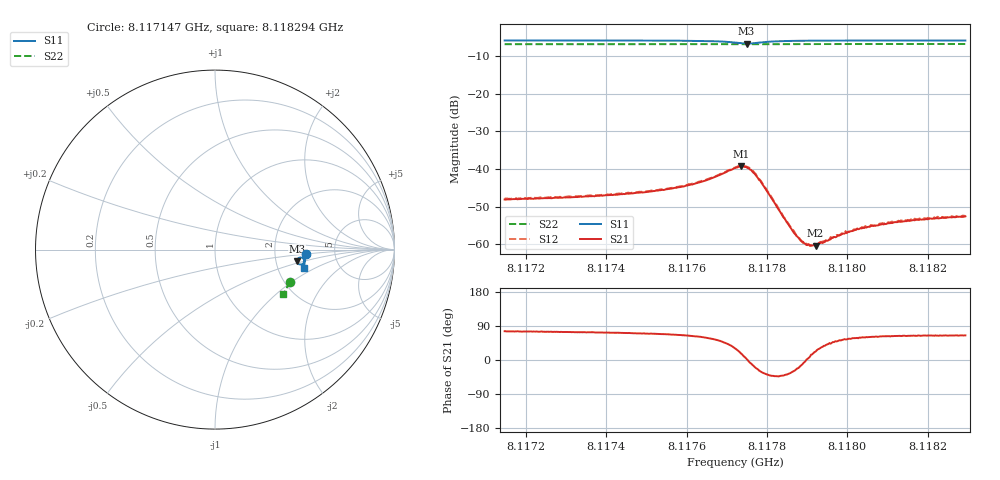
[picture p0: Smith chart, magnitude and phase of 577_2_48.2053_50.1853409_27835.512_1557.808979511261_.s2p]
#  HZ  S  RI  R  50.00
! Rohde & Schwarz Vector Network Analyzer
! Rohde-Schwarz,ZNB20-2Port,1311601062101988,3.16
! Created: UTC 3/20/2024, 12:01:56 PM
! freq[Hz]  re:S11  im:S11  re:S21  im:S21  re:S12  im:S12  re:S22  im:S22
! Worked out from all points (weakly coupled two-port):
!   401 points, 8.117147 GHz to 8.118294 GHz, reference 50 ohm
!   highest |S21| = -39.33 dB at 8.117735 GHz (marker M1); lowest = -60.3 dB at 8.117921 GHz (marker M2)
!   lowest |S11| = -6.7 dB at 8.117749 GHz (marker M3), VSWR 2.71, Z = 132 - j21 ohm
!   |S11| at or under -10 dB: nowhere
!   |S22| runs from -6.9 to -6.8 dB; largest |S21 - S12| = 0.00039
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8.1171471e9  0.506 -0.0265  0.000956 0.00382  0.00104 0.0039  0.4153 -0.1782
8.1173392e9  0.5044 -0.0424  0.00124 0.00409  0.00123 0.00419  0.4102 -0.1908
8.1174281e9  0.5032 -0.0503  0.00141 0.00433  0.00148 0.00445  0.4077 -0.1964
8.1175313e9  0.5008 -0.0605  0.00189 0.00486  0.00197 0.00492  0.4047 -0.2031
8.117583e9  0.4989 -0.0666  0.00234 0.00525  0.00241 0.00537  0.4031 -0.2064
8.1176317e9  0.4949 -0.0734  0.00319 0.00584  0.00329 0.00597  0.4015 -0.2097
8.1176718e9  0.4884 -0.0798  0.00465 0.00636  0.00478 0.00644  0.4 -0.2123
8.1177206e9  0.4679 -0.0814  0.00889 0.00522  0.00898 0.00532  0.3978 -0.2151
8.1177349e9  0.4599 -0.0746  0.0103 0.0033  0.0103 0.00337  0.3971 -0.2154
8.1177492e9  0.4565 -0.0628  0.0106 0.000536  0.0107 0.000541  0.3965 -0.2158
8.1177664e9  0.4629 -0.0492  0.0086 -0.00238  0.00892 -0.00253  0.3965 -0.2163
8.1177837e9  0.4742 -0.044  0.00605 -0.00348  0.00613 -0.00356  0.3965 -0.2172
8.1178697e9  0.4972 -0.0598  0.00122 -0.000641  0.00127 -0.000657  0.3947 -0.2234
8.1178897e9  0.4982 -0.0632  0.00107 -0.000176  0.00104 -0.000154  0.3942 -0.2246
8.1179012e9  0.4987 -0.0651  0.000977 5.39e-05  0.000994 4.39e-05  0.3937 -0.2254
8.1179127e9  0.4988 -0.0668  0.000931 0.000247  0.00097 0.00025  0.3935 -0.2262
8.1179213e9  0.4991 -0.0679  0.000888 0.000366  0.000927 0.000368  0.393 -0.2267
8.1179901e9  0.499 -0.0762  0.000825 0.00112  0.000834 0.00113  0.3909 -0.231
8.1180302e9  0.4987 -0.0804  0.000818 0.00138  0.000833 0.00138  0.3896 -0.2337
8.1181048e9  0.498 -0.0873  0.000871 0.0017  0.000903 0.00173  0.387 -0.2383
8.1181736e9  0.4969 -0.0933  0.000942 0.0019  0.000963 0.00194  0.3846 -0.2426
8.118294e9  0.4952 -0.1032  0.000998 0.00213  0.00102 0.00216  0.3803 -0.2499
